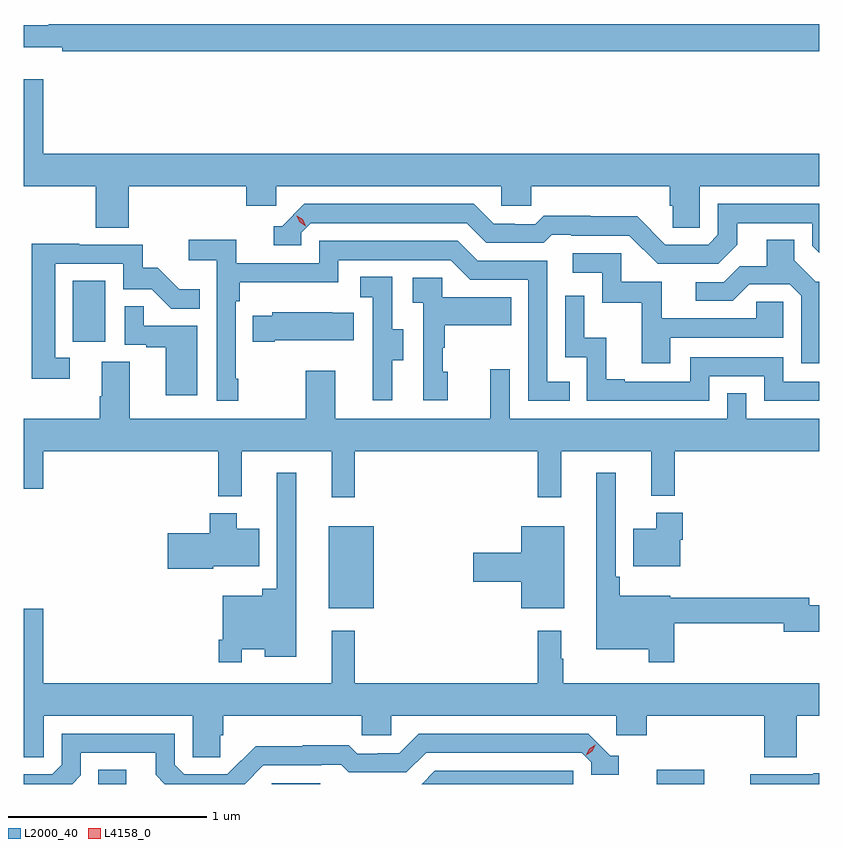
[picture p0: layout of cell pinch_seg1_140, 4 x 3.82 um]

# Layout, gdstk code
import gdstk
lib = gdstk.Library(unit=1e-6, precision=1e-09)
def R(c, l, rs):  # rectangles x0, y0, x1, y1
    for r in rs: c.add(gdstk.rectangle(r[:2], r[2:], *l))
def P(c, l, *ps):  # polygons
    for p in ps: c.add(gdstk.Polygon(p, *l))
L2000_40 = (2000, 40)
L4158_0 = (4158, 0)

pinch_seg1_140 = lib.new_cell('pinch_seg1_140')
R(pinch_seg1_140, L2000_40, [(1124.489,543.398,1124.629,543.47), (1125.36,543.398,1125.604,543.402), (1127.297,543.398,1127.536,543.47), (1125.647,544.283,1125.874,544.693), (1124.36,545.622,1124.524,545.929)])
P(pinch_seg1_140, L2000_40, [(1128.114,547.22),(1124.24,547.22),(1124.24,547.213),(1124.114,547.213),(1124.114,547.103),(1124.308,547.103),(1124.308,547.084),(1128.114,547.084)],
  [(1124.642,546.404),(1125.233,546.404),(1125.233,546.306),(1125.384,546.306),(1125.384,546.404),(1126.515,546.404),(1126.515,546.306),(1126.665,546.306),(1126.665,546.404),(1127.363,546.404),(1127.363,546.306),(1127.377,546.306),(1127.377,546.196),(1127.514,546.196),(1127.514,546.404),(1128.114,546.404),(1128.114,546.568),(1124.212,546.568),(1124.212,546.943),(1124.114,546.943),(1124.114,546.404),(1124.477,546.404),(1124.477,546.196),(1124.642,546.196)],
  [(1127.701,546.109),(1127.701,546.219),(1128.078,546.219),(1128.078,546.105),(1128.114,546.069),(1128.114,546.315),(1127.604,546.315),(1127.604,546.159),(1127.556,546.111),(1127.34,546.111),(1127.198,546.253),(1126.962,546.253),(1126.962,546.256),(1126.729,546.256),(1126.687,546.213),(1126.584,546.213),(1126.584,546.216),(1126.477,546.216),(1126.378,546.315),(1125.525,546.315),(1125.414,546.204),(1125.371,546.204),(1125.371,546.108),(1125.51,546.108),(1125.51,546.171),(1125.558,546.219),(1126.341,546.219),(1126.44,546.12),(1126.729,546.12),(1126.768,546.159),(1126.867,546.159),(1126.867,546.156),(1127.16,546.156),(1127.301,546.015),(1127.607,546.015)],
  [(1125.193,545.437),(1125.18,545.437),(1125.18,545.825),(1125.2,545.825),(1125.2,545.921),(1125.696,545.921),(1125.696,546.033),(1126.26,546.033),(1126.359,545.934),(1126.65,545.934),(1126.65,545.325),(1126.859,545.325),(1126.859,545.421),(1126.746,545.421),(1126.746,546.03),(1126.396,546.03),(1126.297,546.129),(1125.6,546.129),(1125.6,546.018),(1125.182,546.018),(1125.182,546.134),(1124.943,546.134),(1124.943,546.032),(1125.084,546.032),(1125.084,545.325),(1125.193,545.325)],
  [(1128.114,545.925),(1128.096,545.925),(1127.989,546.032),(1127.989,546.134),(1127.849,546.134),(1127.849,546.002),(1127.714,546.002),(1127.634,545.922),(1127.493,545.922),(1127.493,545.829),(1127.68,545.829),(1127.761,545.91),(1127.967,545.91),(1128.024,545.853),(1128.024,545.514),(1128.114,545.514)],
  [(1124.344,545.541),(1124.271,545.541),(1124.271,546.015),(1124.613,546.015),(1124.613,545.886),(1124.757,545.886),(1124.855,545.788),(1124.999,545.788),(1124.999,545.887),(1124.895,545.887),(1124.788,545.994),(1124.712,545.994),(1124.712,546.111),(1124.393,546.111),(1124.393,546.116),(1124.155,546.116),(1124.155,545.436),(1124.344,545.436)],
  [(1127.365,545.643),(1127.934,545.643),(1127.934,545.823),(1127.797,545.823),(1127.797,545.739),(1127.323,545.739),(1127.323,545.925),(1127.118,545.925),(1127.118,546.066),(1126.875,546.066),(1126.875,545.97),(1127.022,545.97),(1127.022,545.817),(1127.221,545.817),(1127.221,545.514),(1127.365,545.514)],
  [(1125.967,545.53),(1126.021,545.53),(1126.021,545.685),(1125.966,545.685),(1125.966,545.948),(1125.807,545.948),(1125.807,545.845),(1125.87,545.845),(1125.87,545.541),(1125.869,545.541),(1125.869,545.328),(1125.967,545.328)],
  [(1126.246,545.472),(1126.221,545.472),(1126.221,545.591),(1126.231,545.591),(1126.231,545.705),(1126.565,545.705),(1126.565,545.845),(1126.218,545.845),(1126.218,545.943),(1126.071,545.943),(1126.071,545.819),(1126.122,545.819),(1126.122,545.328),(1126.246,545.328)],
  [(1127.562,545.448),(1127.838,545.448),(1127.838,545.325),(1128.114,545.325),(1128.114,545.421),(1127.934,545.421),(1127.934,545.544),(1127.466,545.544),(1127.466,545.421),(1127.137,545.421),(1127.137,545.434),(1127.042,545.434),(1127.042,545.642),(1126.932,545.642),(1126.932,545.854),(1126.836,545.854),(1126.836,545.544),(1126.944,545.544),(1126.944,545.325),(1127.562,545.325)],
  [(1124.986,545.703),(1124.717,545.703),(1124.717,545.801),(1124.622,545.801),(1124.622,545.607),(1124.729,545.607),(1124.729,545.595),(1124.828,545.595),(1124.828,545.352),(1124.986,545.352)],
  [(1125.376,545.63),(1125.773,545.63),(1125.773,545.767),(1125.665,545.767),(1125.665,545.77),(1125.363,545.77),(1125.363,545.752),(1125.265,545.752),(1125.265,545.623),(1125.376,545.623)],
  [(1125.779,545.072),(1126.699,545.072),(1126.699,544.839),(1126.817,544.839),(1126.817,545.072),(1127.27,545.072),(1127.27,544.847),(1127.387,544.847),(1127.387,545.072),(1128.114,545.072),(1128.114,545.236),(1127.748,545.236),(1127.748,545.363),(1127.652,545.363),(1127.652,545.236),(1126.557,545.236),(1126.557,545.485),(1126.46,545.485),(1126.46,545.236),(1125.679,545.236),(1125.679,545.476),(1125.532,545.476),(1125.532,545.236),(1124.647,545.236),(1124.647,545.522),(1124.507,545.522),(1124.507,545.348),(1124.495,545.348),(1124.495,545.236),(1124.114,545.236),(1124.114,544.884),(1124.212,544.884),(1124.212,545.072),(1125.091,545.072),(1125.091,544.844),(1125.209,544.844),(1125.209,545.072),(1125.662,545.072),(1125.662,544.839),(1125.779,544.839)],
  [(1125.21,544.076),(1125.326,544.076),(1125.326,544.037),(1125.484,544.037),(1125.484,544.963),(1125.387,544.963),(1125.387,544.381),(1125.314,544.381),(1125.314,544.345),(1125.114,544.345),(1125.114,544.123),(1125.094,544.123),(1125.094,544.011),(1125.21,544.011)],
  [(1127.384,544.206),(1127.936,544.206),(1127.936,544.163),(1128.114,544.163),(1128.114,544.298),(1128.064,544.298),(1128.064,544.334),(1127.365,544.334),(1127.365,544.345),(1127.111,544.345),(1127.111,544.441),(1127.091,544.441),(1127.091,544.963),(1126.994,544.963),(1126.994,544.076),(1127.256,544.076),(1127.256,544.011),(1127.384,544.011)],
  [(1127.416,544.626),(1127.429,544.626),(1127.429,544.762),(1127.294,544.762),(1127.294,544.681),(1127.18,544.681),(1127.18,544.493),(1127.416,544.493)],
  [(1125.066,544.493),(1125.298,544.493),(1125.298,544.681),(1125.184,544.681),(1125.184,544.759),(1125.05,544.759),(1125.05,544.659),(1124.838,544.659),(1124.838,544.481),(1125.066,544.481)],
  [(1126.831,544.693),(1126.616,544.693),(1126.616,544.562),(1126.374,544.562),(1126.374,544.415),(1126.616,544.415),(1126.616,544.283),(1126.831,544.283)],
  [(1124.214,543.74),(1124.964,543.74),(1124.964,543.532),(1125.101,543.532),(1125.101,543.642),(1125.116,543.642),(1125.116,543.74),(1125.813,543.74),(1125.813,543.642),(1125.963,543.642),(1125.963,543.74),(1127.094,543.74),(1127.094,543.642),(1127.246,543.642),(1127.246,543.74),(1127.837,543.74),(1127.837,543.532),(1128.002,543.532),(1128.002,543.74),(1128.114,543.74),(1128.114,543.904),(1126.828,543.904),(1126.828,544.028),(1126.816,544.028),(1126.816,544.168),(1126.699,544.168),(1126.699,543.904),(1125.779,543.904),(1125.779,544.168),(1125.662,544.168),(1125.662,543.904),(1124.212,543.904),(1124.212,544.279),(1124.114,544.279),(1124.114,543.532),(1124.214,543.532)],
  [(1124.4,543.441),(1124.4,543.555),(1124.777,543.555),(1124.777,543.445),(1124.824,543.398),(1125.224,543.398),(1125.318,543.492),(1125.611,543.492),(1125.611,543.495),(1125.71,543.495),(1125.749,543.456),(1126.038,543.456),(1126.137,543.555),(1126.92,543.555),(1126.968,543.507),(1126.968,543.444),(1127.107,543.444),(1127.107,543.54),(1127.064,543.54),(1126.953,543.651),(1126.1,543.651),(1126.001,543.552),(1125.894,543.552),(1125.894,543.549),(1125.791,543.549),(1125.749,543.592),(1125.516,543.592),(1125.516,543.589),(1125.28,543.589),(1125.138,543.447),(1124.922,543.447),(1124.874,543.495),(1124.874,543.651),(1124.304,543.651),(1124.304,543.495),(1124.256,543.447),(1124.114,543.447),(1124.114,543.398),(1124.357,543.398)],
  [(1126.878,543.465),(1126.181,543.465),(1126.114,543.398),(1126.878,543.398)],
  [(1128.114,543.452),(1128.085,543.452),(1128.085,543.447),(1127.767,543.447),(1127.767,543.398),(1128.114,543.398)])
P(pinch_seg1_140, L4158_0, [(1125.533,546.204),(1125.502,546.223),(1125.486,546.256),(1125.486,546.256),(1125.486,546.256),(1125.517,546.237),(1125.533,546.204),(1125.533,546.204)],
  [(1126.943,543.542),(1126.943,543.542),(1126.958,543.575),(1126.988,543.595),(1126.989,543.595),(1126.989,543.595),(1126.973,543.562),(1126.943,543.542)])

lib.write_gds('pinch_seg1_140.gds')
